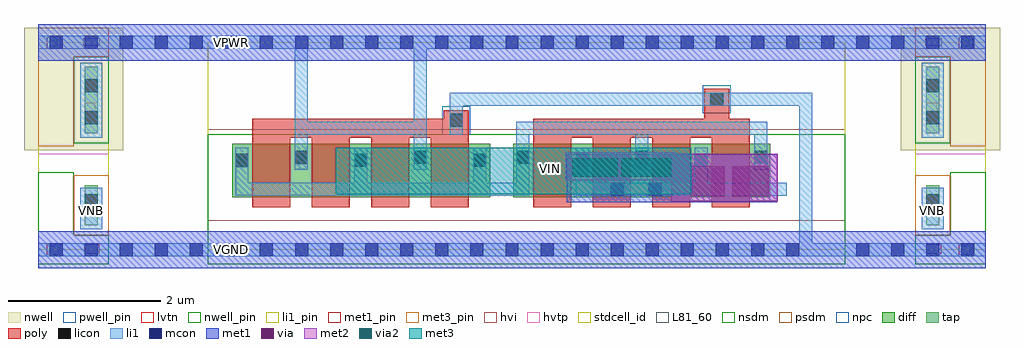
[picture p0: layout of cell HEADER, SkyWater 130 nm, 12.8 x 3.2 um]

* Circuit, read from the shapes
.subckt HEADER VGND VIN VNB VPB VPWR
XM1 VPWR VGND n1 VNB sky130_fd_pr__nfet_05v0_nvt w=0.7 l=0.5 m=4
XM2 VIN VGND n1 VNB sky130_fd_pr__nfet_05v0_nvt w=0.7 l=0.5 m=4
.ends

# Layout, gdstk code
import gdstk
lib = gdstk.Library(unit=1e-6, precision=1e-09)
def R(c, l, rs):  # rectangles x0, y0, x1, y1
    for r in rs: c.add(gdstk.rectangle(r[:2], r[2:], *l))
def A(c, l, x, y, w, h, nx, ny, dx, dy):  # array of equal rectangles
    R(c, l, [(x+i*dx, y+j*dy, x+i*dx+w, y+j*dy+h) for i in range(nx) for j in range(ny)])
nwell_pin = (64, 16)
nwell = (64, 20)
diff = (65, 20)
tap = (65, 44)
poly = (66, 20)
licon = (66, 44)
li1_pin = (67, 16)
li1 = (67, 20)
mcon = (67, 44)
met1_pin = (68, 16)
met1 = (68, 20)
via = (68, 44)
met2 = (69, 20)
via2 = (69, 44)
met3_pin = (70, 16)
met3 = (70, 20)
hvi = (75, 20)
hvtp = (78, 44)
stdcell_id = (81, 4)
L81_60 = (81, 60)
nsdm = (93, 44)
psdm = (94, 20)
npc = (95, 20)
pwell_pin = (122, 16)
lvtn = (125, 44)

sky130_fd_sc_hd__tap_1 = lib.new_cell('sky130_fd_sc_hd__tap_1')
R(sky130_fd_sc_hd__tap_1, nwell, [(-0.19,1.305,0.65,2.91)])
R(sky130_fd_sc_hd__tap_1, tap, [(0.145,0.32,0.315,0.845), (0.145,1.525,0.315,2.4)])
R(sky130_fd_sc_hd__tap_1, licon, [(0.145,0.555,0.315,0.725), (0.145,1.645,0.315,1.815), (0.145,2.065,0.315,2.235)])
R(sky130_fd_sc_hd__tap_1, li1_pin, [(0.19,0.47,0.27,0.565), (0.145,1.81,0.285,1.93)])
R(sky130_fd_sc_hd__tap_1, li1, [(0.085,0.265,0.375,0.81), (0.085,1.47,0.375,2.455)])
R(sky130_fd_sc_hd__tap_1, mcon, [(0.145,-0.085,0.315,0.085), (0.145,2.635,0.315,2.805)])
R(sky130_fd_sc_hd__tap_1, met1_pin, [(0.14,-0.05,0.34,0.07), (0.13,2.675,0.345,2.775)])
R(sky130_fd_sc_hd__tap_1, hvtp, [(0,1.25,0.46,2.72)])
R(sky130_fd_sc_hd__tap_1, stdcell_id, [(0,0,0.46,2.72)])
R(sky130_fd_sc_hd__tap_1, nsdm, [(0,-0.19,0.46,0.19), (0,1.395,0.46,2.53)])
R(sky130_fd_sc_hd__tap_1, psdm, [(0,0.19,0.46,0.975), (0,2.53,0.46,2.91)])
sky130_fd_sc_hd__tap_1.add(gdstk.FlexPath([(0,2.72),(0.46,2.72)], 0.48, ends="flush", simple_path=True, layer=68, datatype=20))  # met1
sky130_fd_sc_hd__tap_1.add(gdstk.FlexPath([(0,0),(0.46,0)], 0.48, ends="flush", simple_path=True, layer=68, datatype=20))  # met1
sky130_fd_sc_hd__tap_1.add(gdstk.FlexPath([(0,0),(0.46,0)], 0.17, ends="flush", simple_path=True, layer=67, datatype=20))  # li1
sky130_fd_sc_hd__tap_1.add(gdstk.FlexPath([(0,2.72),(0.46,2.72)], 0.17, ends="flush", simple_path=True, layer=67, datatype=20))  # li1
sky130_fd_sc_hd__tap_1.add(gdstk.Label('VGND', (0.23,0), layer=68, texttype=5))
sky130_fd_sc_hd__tap_1.add(gdstk.Label('VPWR', (0.23,2.72), layer=68, texttype=5))
sky130_fd_sc_hd__tap_1.add(gdstk.Label('tap_1', (0,0), layer=83, texttype=44))
sky130_fd_sc_hd__tap_1.add(gdstk.Label('VNB', (0.23,0.51), layer=67, texttype=5))
sky130_fd_sc_hd__tap_1.add(gdstk.Label('VPB', (0.23,1.87), layer=67, texttype=5))

sky130_fd_sc_hd__fill_1 = lib.new_cell('sky130_fd_sc_hd__fill_1')
R(sky130_fd_sc_hd__fill_1, nwell_pin, [(0.155,2.67,0.255,2.755)])
R(sky130_fd_sc_hd__fill_1, nwell, [(-0.19,1.305,0.65,2.91)])
R(sky130_fd_sc_hd__fill_1, mcon, [(0.145,-0.085,0.315,0.085), (0.145,2.635,0.315,2.805)])
R(sky130_fd_sc_hd__fill_1, met1_pin, [(0.11,-0.065,0.29,0.08), (0.11,2.635,0.29,2.785)])
R(sky130_fd_sc_hd__fill_1, hvtp, [(0,1.25,0.46,2.72)])
R(sky130_fd_sc_hd__fill_1, stdcell_id, [(0,0,0.46,2.72)])
R(sky130_fd_sc_hd__fill_1, nsdm, [(0,-0.19,0.46,1.015)])
R(sky130_fd_sc_hd__fill_1, psdm, [(0,1.355,0.46,2.91)])
R(sky130_fd_sc_hd__fill_1, pwell_pin, [(0.14,-0.055,0.26,0.055)])
sky130_fd_sc_hd__fill_1.add(gdstk.FlexPath([(0,2.72),(0.46,2.72)], 0.48, ends="flush", simple_path=True, layer=68, datatype=20))  # met1
sky130_fd_sc_hd__fill_1.add(gdstk.FlexPath([(0,0),(0.46,0)], 0.48, ends="flush", simple_path=True, layer=68, datatype=20))  # met1
sky130_fd_sc_hd__fill_1.add(gdstk.FlexPath([(0,0),(0.46,0)], 0.17, ends="flush", simple_path=True, layer=67, datatype=20))  # li1
sky130_fd_sc_hd__fill_1.add(gdstk.FlexPath([(0,2.72),(0.46,2.72)], 0.17, ends="flush", simple_path=True, layer=67, datatype=20))  # li1
sky130_fd_sc_hd__fill_1.add(gdstk.Label('VPWR', (0.205,2.72), layer=68, texttype=5))
sky130_fd_sc_hd__fill_1.add(gdstk.Label('VGND', (0.205,0), layer=68, texttype=5))
sky130_fd_sc_hd__fill_1.add(gdstk.Label('fill_1', (0,0), layer=83, texttype=44))
sky130_fd_sc_hd__fill_1.add(gdstk.Label('VPB', (0.23,2.72), layer=64, texttype=5))
sky130_fd_sc_hd__fill_1.add(gdstk.Label('VNB', (0.23,0), layer=64, texttype=59))

header = lib.new_cell('HEADER')
R(header, diff, [(2.54,0.69,5.925,1.39), (6.225,0.69,9.595,1.39)])
A(header, poly, 2.805, 0.56, 0.5, 0.905, 4, 1, 0.78, 0)
A(header, poly, 6.49, 0.56, 0.5, 0.905, 4, 1, 0.78, 0)
R(header, poly, [(2.805,1.465,5.645,1.715), (6.49,1.465,9.33,1.715), (5.315,1.715,5.645,1.83), (8.73,1.715,9.06,2.11)])
A(header, licon, 2.58, 1.09, 0.17, 0.17, 3, 1, 1.56, 0)
A(header, licon, 6.265, 1.13, 0.17, 0.17, 3, 1, 1.56, 0)
R(header, licon, [(7.045,1.09,7.215,1.26), (8.605,1.09,8.775,1.26), (3.36,1.13,3.53,1.3), (4.92,1.13,5.09,1.3), (5.395,1.61,5.565,1.78), (8.81,1.89,8.98,2.06)])
R(header, li1_pin, [(0.65,0.47,0.73,0.565), (11.69,0.47,11.77,0.565)])
A(header, li1, 2.58, 0.71, 0.17, 0.63, 3, 1, 1.56, 0)
R(header, li1, [(0.92,-0.085,11.5,0.085), (9.98,-0.085,10.15,2.06), (2.75,0.71,6.425,0.88), (6.265,0.71,6.435,1.68), (7.045,0.71,9.81,0.88), (7.045,0.71,7.215,1.34), (8.605,0.71,8.775,1.34), (3.36,1.05,3.53,2.805), (4.92,1.05,5.09,2.805), (7.825,1.05,7.995,1.68), (9.385,1.05,9.555,1.68), (3.36,1.51,3.53,1.68), (3.36,1.51,5.09,1.68), (4.92,1.51,5.09,1.68), (5.395,1.51,5.565,1.89), (6.265,1.51,9.555,1.68), (5.395,1.89,10.15,2.06), (0.92,2.635,11.5,2.805)])
A(header, mcon, 1.065, -0.085, 0.17, 0.17, 20, 1, 0.46, 0)
A(header, mcon, 1.065, 2.635, 0.17, 0.17, 23, 1, 0.46, 0)
R(header, mcon, [(10.725,-0.085,10.895,0.085), (11.185,-0.085,11.355,0.085), (7.505,0.71,7.675,0.88), (8.005,0.71,8.175,0.88)])
R(header, met1_pin, [(2.45,-0.085,2.62,0.085), (2.45,2.635,2.62,2.805)])
R(header, met1, [(0.92,-0.24,11.5,0.24), (6.925,0.625,9.69,1.255), (0.92,2.48,11.5,2.96)])
R(header, via, [(8.55,0.7,9,1.1), (9.1,0.7,9.58,1.1)])
R(header, met2, [(8.3,0.635,9.695,1.26), (6.915,0.91,8.37,1.275)])
R(header, via2, [(7,0.96,7.6,1.2), (7.645,0.96,8.3,1.2)])
R(header, met3_pin, [(6.645,1.02,6.79,1.12)])
R(header, met3, [(3.9,0.73,8.56,1.34)])
R(header, hvi, [(2.22,0.38,10.58,1.58)])
R(header, stdcell_id, [(2.22,0,10.58,2.72)])
R(header, L81_60, [(2.54,0.69,5.925,1.39), (6.225,0.69,9.595,1.39)])
R(header, nsdm, [(2.22,-0.19,10.58,1.515)])
R(header, npc, [(5.295,1.51,5.665,1.88), (8.71,1.79,9.08,2.16)])
R(header, lvtn, [(2.22,0.38,10.58,1.58)])
header.add(gdstk.Reference(sky130_fd_sc_hd__tap_1, (0.46,0)))
header.add(gdstk.Reference(sky130_fd_sc_hd__tap_1, (11.5,0)))
header.add(gdstk.Reference(sky130_fd_sc_hd__fill_1, (0,0)))
header.add(gdstk.Reference(sky130_fd_sc_hd__fill_1, (11.96,0)))
header.add(gdstk.Label('VPWR', (2.535,2.72), layer=68, texttype=16))
header.add(gdstk.Label('VGND', (2.535,0), layer=68, texttype=16))
header.add(gdstk.Label('VPWR', (2.53,2.72), layer=68, texttype=5))
header.add(gdstk.Label('VGND', (2.53,0), layer=68, texttype=5))
header.add(gdstk.Label('HEADER', (2.35,0), layer=83, texttype=44))
header.add(gdstk.Label('VNB', (0.69,0.51), layer=67, texttype=5))
header.add(gdstk.Label('VNB', (11.73,0.51), layer=67, texttype=5))
header.add(gdstk.Label('VIN', (6.71,1.07), layer=70, texttype=5))

lib.write_gds('HEADER.gds')
